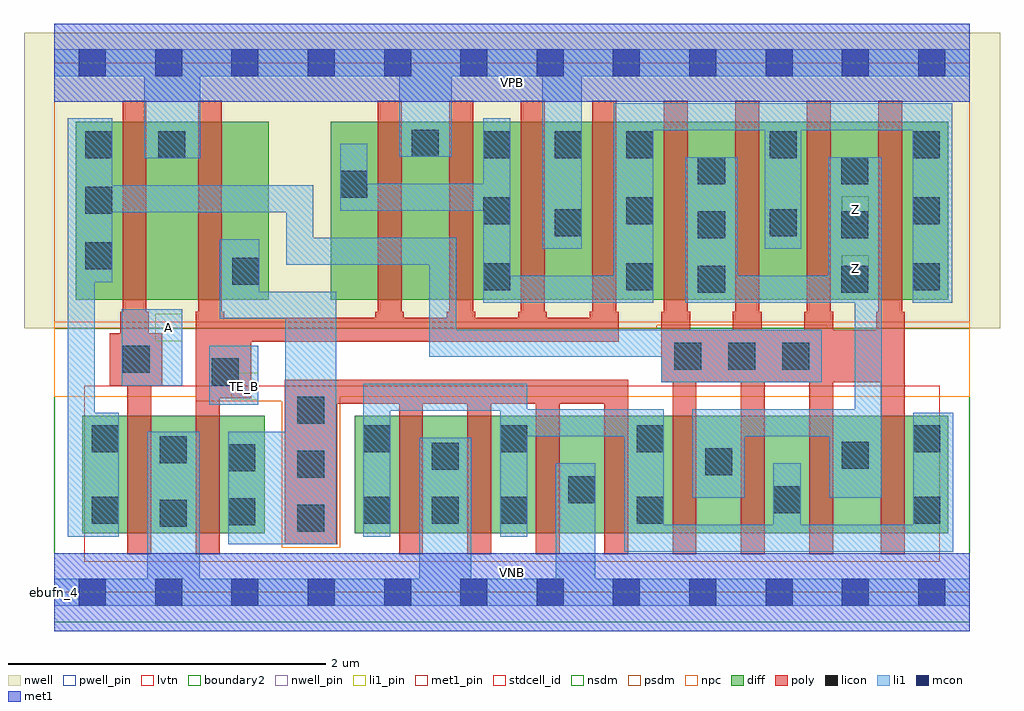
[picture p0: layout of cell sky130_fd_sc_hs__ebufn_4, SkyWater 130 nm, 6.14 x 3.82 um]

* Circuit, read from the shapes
.subckt sky130_fd_sc_hs__ebufn_4 A TE_B VGND VNB VPB VPWR Z
XM1 VGND A n1 VNB sky130_fd_pr__nfet_01v8_lvt w=0.74 l=0.15
XM2 n2 TE_B VGND VNB sky130_fd_pr__nfet_01v8_lvt w=0.74 l=0.15
XM3 VGND n2 n3 VNB sky130_fd_pr__nfet_01v8_lvt w=0.74 l=0.15 m=4
XM4 Z n1 n3 VNB sky130_fd_pr__nfet_01v8_lvt w=0.74 l=0.15 m=4
XM5 VPWR A n1 VPB sky130_fd_pr__pfet_01v8 w=1.12 l=0.15
XM6 n2 TE_B VPWR VPB sky130_fd_pr__pfet_01v8 w=1.12 l=0.15
XM7 VPWR TE_B n4 VPB sky130_fd_pr__pfet_01v8 w=1.12 l=0.15 m=4
XM8 Z n1 n4 VPB sky130_fd_pr__pfet_01v8 w=1.12 l=0.15 m=4
.ends

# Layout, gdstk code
import gdstk
lib = gdstk.Library(unit=1e-6, precision=1e-09)
def R(c, l, rs):  # rectangles x0, y0, x1, y1
    for r in rs: c.add(gdstk.rectangle(r[:2], r[2:], *l))
def A(c, l, x, y, w, h, nx, ny, dx, dy):  # array of equal rectangles
    R(c, l, [(x+i*dx, y+j*dy, x+i*dx+w, y+j*dy+h) for i in range(nx) for j in range(ny)])
def P(c, l, *ps):  # polygons
    for p in ps: c.add(gdstk.Polygon(p, *l))
nwell_pin = (64, 16)
nwell = (64, 20)
diff = (65, 20)
poly = (66, 20)
licon = (66, 44)
li1_pin = (67, 16)
li1 = (67, 20)
mcon = (67, 44)
met1_pin = (68, 16)
met1 = (68, 20)
stdcell_id = (81, 4)
nsdm = (93, 44)
psdm = (94, 20)
npc = (95, 20)
pwell_pin = (122, 16)
lvtn = (125, 44)
boundary2 = (236, 0)

sky130_fd_sc_hs__ebufn_4 = lib.new_cell('sky130_fd_sc_hs__ebufn_4')
R(sky130_fd_sc_hs__ebufn_4, nwell_pin, [(0,3.085,5.76,3.33)])
R(sky130_fd_sc_hs__ebufn_4, nwell, [(-0.19,1.66,5.95,3.52)])
R(sky130_fd_sc_hs__ebufn_4, diff, [(0.175,0.37,1.325,1.11), (1.89,0.37,5.625,1.11), (0.135,1.84,1.35,2.96), (1.74,1.84,5.625,2.96)])
P(sky130_fd_sc_hs__ebufn_4, poly, [(5.35,1.765),(5.335,1.765),(5.335,3.09),(5.185,3.09),(5.185,1.765),(5.17,1.765),(5.17,1.65),(4.9,1.65),(4.9,1.765),(4.885,1.765),(4.885,3.09),(4.735,3.09),(4.735,1.765),(4.72,1.765),(4.72,1.65),(4.45,1.65),(4.45,1.765),(4.435,1.765),(4.435,3.09),(4.285,3.09),(4.285,1.765),(4.27,1.765),(4.27,1.65),(4,1.65),(4,1.765),(3.985,1.765),(3.985,3.09),(3.835,3.09),(3.835,1.765),(3.82,1.765),(3.82,1.32),(3.89,1.32),(3.89,0.24),(4.04,0.24),(4.04,1.32),(4.32,1.32),(4.32,0.24),(4.47,0.24),(4.47,1.32),(4.75,1.32),(4.75,0.24),(4.9,0.24),(4.9,1.32),(5.2,1.32),(5.2,0.24),(5.35,0.24)],
  [(0.68,1.63),(0.595,1.63),(0.595,1.765),(0.58,1.765),(0.58,3.09),(0.43,3.09),(0.43,1.765),(0.415,1.765),(0.415,1.63),(0.35,1.63),(0.35,1.3),(0.46,1.3),(0.46,0.24),(0.61,0.24),(0.61,1.3),(0.68,1.3)],
  [(3.55,1.765),(3.535,1.765),(3.535,3.09),(3.385,3.09),(3.385,1.765),(3.37,1.765),(3.37,1.725),(3.1,1.725),(3.1,1.765),(3.085,1.765),(3.085,3.09),(2.935,3.09),(2.935,1.765),(2.92,1.765),(2.92,1.725),(2.65,1.725),(2.65,1.765),(2.635,1.765),(2.635,3.09),(2.485,3.09),(2.485,1.765),(2.47,1.765),(2.47,1.725),(2.2,1.725),(2.2,1.765),(2.185,1.765),(2.185,3.09),(2.035,3.09),(2.035,1.765),(2.02,1.765),(2.02,1.725),(1.07,1.725),(1.07,1.765),(1.055,1.765),(1.055,3.09),(0.905,3.09),(0.905,1.765),(0.89,1.765),(0.89,0.24),(1.04,0.24),(1.04,1.22),(1.24,1.22),(1.24,1.575),(3.55,1.575)],
  [(3.61,1.335),(1.45,1.335),(1.45,0.3),(1.78,0.3),(1.78,1.185),(2.17,1.185),(2.17,0.24),(2.32,0.24),(2.32,1.185),(2.6,1.185),(2.6,0.24),(2.75,0.24),(2.75,1.185),(3.03,1.185),(3.03,0.24),(3.18,0.24),(3.18,1.185),(3.46,1.185),(3.46,0.24),(3.61,0.24)])
A(sky130_fd_sc_hs__ebufn_4, licon, 1.53, 0.38, 0.17, 0.17, 1, 3, 0, 0.34)
A(sky130_fd_sc_hs__ebufn_4, licon, 1.945, 0.43, 0.17, 0.17, 3, 1, 0.43, 0)
A(sky130_fd_sc_hs__ebufn_4, licon, 1.945, 0.88, 0.17, 0.17, 3, 1, 0.86, 0)
A(sky130_fd_sc_hs__ebufn_4, licon, 3.9, 1.4, 0.17, 0.17, 3, 1, 0.34, 0)
A(sky130_fd_sc_hs__ebufn_4, licon, 4.05, 1.885, 0.17, 0.17, 1, 3, 0, 0.34)
A(sky130_fd_sc_hs__ebufn_4, licon, 4.95, 1.885, 0.17, 0.17, 1, 3, 0, 0.34)
A(sky130_fd_sc_hs__ebufn_4, licon, 5.4, 1.9, 0.17, 0.17, 1, 3, 0, 0.415)
A(sky130_fd_sc_hs__ebufn_4, licon, 0.195, 2.03, 0.17, 0.17, 1, 3, 0, 0.35)
A(sky130_fd_sc_hs__ebufn_4, licon, 2.7, 2.73, 0.17, 0.17, 3, 1, 0.45, 0)
R(sky130_fd_sc_hs__ebufn_4, licon, [(0.665,0.41,0.835,0.58), (1.095,0.42,1.265,0.59), (0.235,0.43,0.405,0.6), (3.665,0.43,3.835,0.6), (5.405,0.43,5.575,0.6), (4.525,0.495,4.695,0.665), (3.235,0.56,3.405,0.73), (4.095,0.735,4.265,0.905), (1.095,0.76,1.265,0.93), (2.375,0.77,2.545,0.94), (4.955,0.775,5.125,0.945), (0.665,0.81,0.835,0.98), (0.235,0.88,0.405,1.05), (5.405,0.88,5.575,1.05), (0.99,1.3,1.16,1.47), (0.43,1.38,0.6,1.55), (2.7,1.9,2.87,2.07), (3.6,1.9,3.77,2.07), (1.12,1.935,1.29,2.105), (3.15,2.24,3.32,2.41), (4.5,2.24,4.67,2.41), (2.7,2.315,2.87,2.485), (3.6,2.315,3.77,2.485), (1.8,2.48,1.97,2.65), (0.655,2.73,0.825,2.9), (4.5,2.73,4.67,2.9), (2.25,2.74,2.42,2.91)])
R(sky130_fd_sc_hs__ebufn_4, li1_pin, [(1.115,1.21,1.285,1.38), (0.635,1.58,0.805,1.75), (4.955,1.95,5.125,2.12), (4.955,2.32,5.125,2.49)])
R(sky130_fd_sc_hs__ebufn_4, li1, [(0.975,1.18,1.285,1.55), (0.425,1.3,0.805,1.78)])
P(sky130_fd_sc_hs__ebufn_4, li1, [(0,-0.085),(0,0.085),(0.585,0.085),(0.585,1.01),(0.915,1.01),(0.915,0.085),(2.295,0.085),(2.295,0.97),(2.625,0.97),(2.625,0.085),(3.155,0.085),(3.155,0.81),(3.405,0.81),(3.405,0.085),(5.76,0.085),(5.76,-0.085)],
  [(0,3.245),(0,3.415),(5.76,3.415),(5.76,3.245),(3.32,3.245),(3.32,2.16),(3.07,2.16),(3.07,3.245),(2.5,3.245),(2.5,2.74),(2.17,2.74),(2.17,3.245),(0.92,3.245),(0.92,2.73),(0.565,2.73),(0.565,3.245)],
  [(4.87,1.99),(4.87,2.735),(5.205,2.735),(5.205,0.595),(4.875,0.595),(4.875,0.98),(4.345,0.98),(4.345,0.595),(4.015,0.595),(4.015,1.15),(5.035,1.15),(5.035,1.82),(3.97,1.82),(3.97,2.735),(4.3,2.735),(4.3,1.99)],
  [(1.095,0.3),(1.095,1.01),(1.455,1.01),(1.455,1.72),(1.04,1.72),(1.04,2.22),(1.29,2.22),(1.29,1.89),(1.775,1.89),(1.775,0.3)],
  [(2.36,1.48),(2.36,2.06),(1.46,2.06),(1.46,2.39),(0.365,2.39),(0.365,1.95),(0.255,1.95),(0.255,1.13),(0.405,1.13),(0.405,0.35),(0.085,0.35),(0.085,2.98),(0.365,2.98),(0.365,2.56),(1.63,2.56),(1.63,2.23),(2.53,2.23),(2.53,1.65),(4.83,1.65),(4.83,1.32),(3.82,1.32),(3.82,1.48)],
  [(2.7,1.82),(2.7,2.4),(1.8,2.4),(1.8,2.82),(1.97,2.82),(1.97,2.57),(2.7,2.57),(2.7,2.98),(2.87,2.98),(2.87,1.99),(3.52,1.99),(3.52,3.075),(5.65,3.075),(5.65,1.82),(5.4,1.82),(5.4,2.905),(4.7,2.905),(4.7,2.16),(4.47,2.16),(4.47,2.905),(3.77,2.905),(3.77,1.82)],
  [(2.805,0.35),(2.805,1.14),(2.115,1.14),(2.115,0.35),(1.945,0.35),(1.945,1.31),(2.975,1.31),(2.975,1.15),(3.835,1.15),(3.835,0.425),(4.525,0.425),(4.525,0.81),(4.695,0.81),(4.695,0.425),(5.405,0.425),(5.405,1.13),(5.655,1.13),(5.655,0.255),(3.585,0.255),(3.585,0.98),(2.975,0.98),(2.975,0.35)])
A(sky130_fd_sc_hs__ebufn_4, mcon, 0.155, -0.085, 0.17, 0.17, 12, 2, 0.48, 3.33)
R(sky130_fd_sc_hs__ebufn_4, met1_pin, [(0,0,5.76,0.245), (0,3.085,5.76,3.33)])
R(sky130_fd_sc_hs__ebufn_4, met1, [(0,-0.245,5.76,0.245), (0,3.085,5.76,3.575)])
R(sky130_fd_sc_hs__ebufn_4, stdcell_id, [(0,0,5.76,3.33)])
R(sky130_fd_sc_hs__ebufn_4, nsdm, [(0,-0.19,5.76,1.66)])
P(sky130_fd_sc_hs__ebufn_4, psdm, [(5.76,3.52),(0,3.52),(0,1.66),(3.79,1.66),(3.79,1.68),(4.86,1.68),(4.86,1.66),(5.76,1.66)])
P(sky130_fd_sc_hs__ebufn_4, npc, [(5.76,1.7),(0,1.7),(0,1.23),(0.89,1.23),(0.89,1.2),(1.43,1.2),(1.43,0.28),(1.8,0.28),(1.8,1.23),(5.76,1.23)])
R(sky130_fd_sc_hs__ebufn_4, pwell_pin, [(0,0,5.76,0.245)])
R(sky130_fd_sc_hs__ebufn_4, lvtn, [(0.19,0.19,5.57,1.3)])
R(sky130_fd_sc_hs__ebufn_4, boundary2, [(0,0,5.76,3.33)])
sky130_fd_sc_hs__ebufn_4.add(gdstk.Label('ebufn_4', (0,0), layer=83, texttype=44))
sky130_fd_sc_hs__ebufn_4.add(gdstk.Label('VNB', (2.88,0.123), layer=64, texttype=59))
sky130_fd_sc_hs__ebufn_4.add(gdstk.Label('VPB', (2.88,3.208), layer=64, texttype=5))
sky130_fd_sc_hs__ebufn_4.add(gdstk.Label('VPWR', (2.88,3.208), layer=68, texttype=5))
sky130_fd_sc_hs__ebufn_4.add(gdstk.Label('VGND', (2.88,0.123), layer=68, texttype=5))
sky130_fd_sc_hs__ebufn_4.add(gdstk.Label('Z', (5.04,2.035), layer=67, texttype=5))
sky130_fd_sc_hs__ebufn_4.add(gdstk.Label('Z', (5.04,2.405), layer=67, texttype=5))
sky130_fd_sc_hs__ebufn_4.add(gdstk.Label('TE_B', (1.2,1.295), layer=67, texttype=5))
sky130_fd_sc_hs__ebufn_4.add(gdstk.Label('A', (0.72,1.665), layer=67, texttype=5))

lib.write_gds('sky130_fd_sc_hs__ebufn_4.gds')
